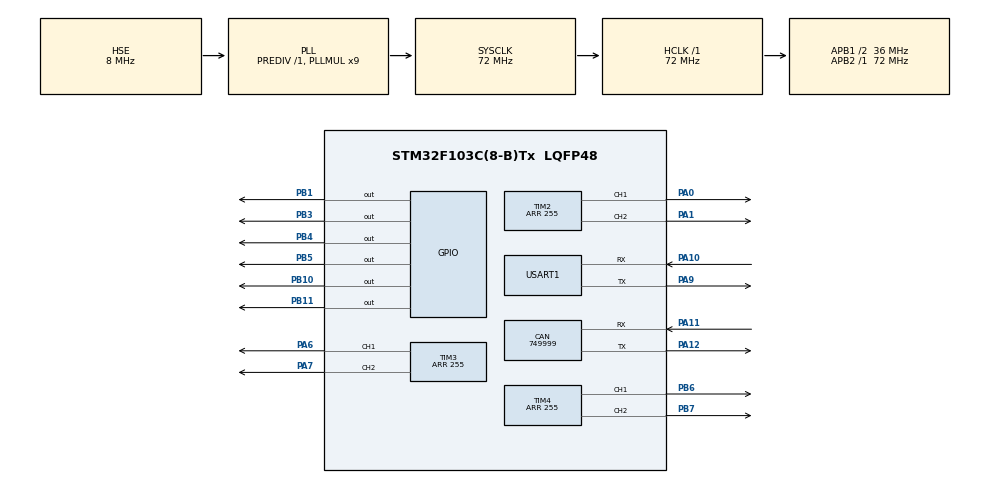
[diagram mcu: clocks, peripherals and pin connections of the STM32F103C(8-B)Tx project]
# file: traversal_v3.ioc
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CAN.CalculateBaudRate=749999
CAN.CalculateTimeBit=1333
CAN.CalculateTimeQuantum=444.44444444444446
Dma.Request0=USART1_RX
Dma.USART1_RX.0.Direction=DMA_PERIPH_TO_MEMORY
Dma.USART1_RX.0.Instance=DMA1_Channel5
Dma.USART1_RX.0.MemDataAlignment=DMA_MDATAALIGN_BYTE
Dma.USART1_RX.0.MemInc=DMA_MINC_ENABLE
Dma.USART1_RX.0.Mode=DMA_CIRCULAR
Dma.USART1_RX.0.PeriphDataAlignment=DMA_PDATAALIGN_BYTE
Dma.USART1_RX.0.PeriphInc=DMA_PINC_DISABLE
Dma.USART1_RX.0.Priority=DMA_PRIORITY_LOW
Mcu.Family=STM32F1
Mcu.Name=STM32F103C(8-B)Tx
Mcu.Package=LQFP48
NVIC.DMA1_Channel5_IRQn=true\:0\:0\:false\:false\:true\:false\:true\:true
NVIC.PriorityGroup=NVIC_PRIORITYGROUP_4
PA0-WKUP.Signal=S_TIM2_CH1_ETR
PA1.Signal=S_TIM2_CH2
PA10.Mode=Asynchronous
PA10.Signal=USART1_RX
PA11.Mode=CAN_Activate
PA11.Signal=CAN_RX
PA12.Mode=CAN_Activate
PA12.Signal=CAN_TX
PA13.Mode=Serial_Wire
PA13.Signal=SYS_JTMS-SWDIO
PA14.Mode=Serial_Wire
PA14.Signal=SYS_JTCK-SWCLK
PA6.Signal=S_TIM3_CH1
PA7.Signal=S_TIM3_CH2
PA9.Mode=Asynchronous
PA9.Signal=USART1_TX
PB1.Signal=GPIO_Output
PB10.Signal=GPIO_Output
PB11.Signal=GPIO_Output
PB3.Signal=GPIO_Output
PB4.Signal=GPIO_Output
PB5.Signal=GPIO_Output
PB6.Signal=S_TIM4_CH1
PB7.Signal=S_TIM4_CH2
PD0-OSC_IN.Mode=HSE-External-Oscillator
PD0-OSC_IN.Signal=RCC_OSC_IN
PD1-OSC_OUT.Mode=HSE-External-Oscillator
PD1-OSC_OUT.Signal=RCC_OSC_OUT
ProjectManager.HeapSize=0x200
ProjectManager.StackSize=0x400
ProjectManager.TargetToolchain=STM32CubeIDE
RCC.AHBFreq_Value=72000000
RCC.APB1CLKDivider=RCC_HCLK_DIV2
RCC.APB1Freq_Value=36000000
RCC.APB1TimFreq_Value=72000000
RCC.APB2Freq_Value=72000000
RCC.APB2TimFreq_Value=72000000
RCC.HCLKFreq_Value=72000000
RCC.PLLMUL=RCC_PLL_MUL9
RCC.PLLSourceVirtual=RCC_PLLSOURCE_HSE
RCC.SYSCLKFreq_VALUE=72000000
RCC.SYSCLKSource=RCC_SYSCLKSOURCE_PLLCLK
RCC.USBFreq_Value=72000000
SH.S_TIM2_CH1_ETR.0=TIM2_CH1,PWM Generation1 CH1
SH.S_TIM2_CH2.0=TIM2_CH2,PWM Generation2 CH2
SH.S_TIM3_CH1.0=TIM3_CH1,PWM Generation1 CH1
SH.S_TIM3_CH2.0=TIM3_CH2,PWM Generation2 CH2
SH.S_TIM4_CH1.0=TIM4_CH1,PWM Generation1 CH1
SH.S_TIM4_CH2.0=TIM4_CH2,PWM Generation2 CH2
TIM2.Channel-PWM\ Generation1\ CH1=TIM_CHANNEL_1
TIM2.Channel-PWM\ Generation2\ CH2=TIM_CHANNEL_2
TIM2.Period=255
TIM3.Channel-PWM\ Generation1\ CH1=TIM_CHANNEL_1
TIM3.Channel-PWM\ Generation2\ CH2=TIM_CHANNEL_2
TIM3.Period=255
TIM4.Channel-PWM\ Generation1\ CH1=TIM_CHANNEL_1
TIM4.Channel-PWM\ Generation2\ CH2=TIM_CHANNEL_2
TIM4.Period=255
USART1.VirtualMode=VM_ASYNC
VP_TIM2_VS_ClockSourceINT.Mode=Internal
VP_TIM3_VS_ClockSourceINT.Mode=Internal
VP_TIM4_VS_ClockSourceINT.Mode=Internal
board=custom

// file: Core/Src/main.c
/* USER CODE BEGIN Header */
/**
  ******************************************************************************
  * @file           : main.c
  * @brief          : Main program body
  ******************************************************************************
  * @attention
  *
  * Copyright (c) 2025 STMicroelectronics.
  * All rights reserved.
  *
  * This software is licensed under terms that can be found in the LICENSE file
  * in the root directory of this software component.
  * If no LICENSE file comes with this software, it is provided AS-IS.
  *
  ******************************************************************************
  */
/* USER CODE END Header */
#include "main.h"

/* USER CODE BEGIN PD */
#define ENCODER_GEAR 9.0f
#define WHEEL_GEAR   108.0f
/* USER CODE END PD */

CAN_HandleTypeDef hcan;

TIM_HandleTypeDef htim2;
TIM_HandleTypeDef htim3;
TIM_HandleTypeDef htim4;

UART_HandleTypeDef huart1;
DMA_HandleTypeDef hdma_usart1_rx;

/* USER CODE BEGIN PV */
volatile uint8_t UART1_rxBuffer[4] = {0};

/* USER CODE END PV */

void SystemClock_Config(void);
static void MX_GPIO_Init(void);
static void MX_DMA_Init(void);
static void MX_TIM2_Init(void);
static void MX_TIM3_Init(void);
static void MX_TIM4_Init(void);
static void MX_USART1_UART_Init(void);
static void MX_CAN_Init(void);

/* USER CODE BEGIN 0 */
//void HAL_UART_RxCpltCallback(UART_HandleTypeDef *huart) {
//	if (huart->Instance == USART1) {
//	    HAL_UART_Transmit(&huart1, UART1_rxBuffer, 2, HAL_MAX_DELAY);
//
//	}
//}

void setMotor(uint8_t joystick[2]) {
    int x = (int)joystick[0] - 127;
    int y = (int)joystick[1] - 127;

    int speed;

    if (abs(y) > abs(x)) {
        // forward / backward
        speed = 2 * abs(y);

        if (y > 0) {
            // FORWARD
            HAL_GPIO_WritePin(GPIOB, GPIO_PIN_3, GPIO_PIN_RESET);
            HAL_GPIO_WritePin(GPIOB, GPIO_PIN_4, GPIO_PIN_RESET);
            HAL_GPIO_WritePin(GPIOB, GPIO_PIN_5, GPIO_PIN_RESET);

            HAL_GPIO_WritePin(GPIOB, GPIO_PIN_1, GPIO_PIN_RESET);
            HAL_GPIO_WritePin(GPIOB, GPIO_PIN_10, GPIO_PIN_RESET);
            HAL_GPIO_WritePin(GPIOB, GPIO_PIN_11, GPIO_PIN_RESET);
        } else {
            // BACKWARD
            HAL_GPIO_WritePin(GPIOB, GPIO_PIN_3, GPIO_PIN_SET);
            HAL_GPIO_WritePin(GPIOB, GPIO_PIN_4, GPIO_PIN_SET);
            HAL_GPIO_WritePin(GPIOB, GPIO_PIN_5, GPIO_PIN_SET);

            HAL_GPIO_WritePin(GPIOB, GPIO_PIN_1, GPIO_PIN_SET);
            HAL_GPIO_WritePin(GPIOB, GPIO_PIN_10, GPIO_PIN_SET);
            HAL_GPIO_WritePin(GPIOB, GPIO_PIN_11, GPIO_PIN_SET);
        }

    } else if (abs(x) > abs(y)) {
        // rotation
        speed = 2 * abs(x);

        if (x > 0) {
            // rotate right
            HAL_GPIO_WritePin(GPIOB, GPIO_PIN_3, GPIO_PIN_RESET);
            HAL_GPIO_WritePin(GPIOB, GPIO_PIN_4, GPIO_PIN_RESET);
            HAL_GPIO_WritePin(GPIOB, GPIO_PIN_5, GPIO_PIN_RESET);

            HAL_GPIO_WritePin(GPIOB, GPIO_PIN_1, GPIO_PIN_SET);
            HAL_GPIO_WritePin(GPIOB, GPIO_PIN_10, GPIO_PIN_SET);
            HAL_GPIO_WritePin(GPIOB, GPIO_PIN_11, GPIO_PIN_SET);
        } else {
            // rotate left
            HAL_GPIO_WritePin(GPIOB, GPIO_PIN_3, GPIO_PIN_SET);
            HAL_GPIO_WritePin(GPIOB, GPIO_PIN_4, GPIO_PIN_SET);
            HAL_GPIO_WritePin(GPIOB, GPIO_PIN_5, GPIO_PIN_SET);

            HAL_GPIO_WritePin(GPIOB, GPIO_PIN_1, GPIO_PIN_RESET);
            HAL_GPIO_WritePin(GPIOB, GPIO_PIN_10, GPIO_PIN_RESET);
            HAL_GPIO_WritePin(GPIOB, GPIO_PIN_11, GPIO_PIN_RESET);
        }

    } else {
        speed = 0;
    }

    // Left motors (CCR1)
    TIM2->CCR1 = speed;
    TIM3->CCR1 = speed;
    TIM4->CCR1 = speed;

    // Right motors (CCR2)
    TIM2->CCR2 = speed;
    TIM3->CCR2 = speed;
    TIM4->CCR2 = speed;
}

void setMotor_direct(volatile uint8_t cmd[4])
{
    int left_pwm  = cmd[0];  // 0–255
    int left_dir  = cmd[1];  // 0 = forward, 1 = backward
    int right_pwm = cmd[2];  // 0–255
    int right_dir = cmd[3];  // 0 = forward, 1 = backward

    if (left_pwm > 255)  left_pwm = 255;
    if (right_pwm > 255) right_pwm = 255;

    int left_speed  = 2 * left_pwm;
    int right_speed = 2 * right_pwm;

    /* LEFT SIDE DIRECTION (same as setMotor) */
    if (left_dir == 1) {
        HAL_GPIO_WritePin(GPIOB, GPIO_PIN_3, GPIO_PIN_RESET);
        HAL_GPIO_WritePin(GPIOB, GPIO_PIN_4, GPIO_PIN_RESET);
        HAL_GPIO_WritePin(GPIOB, GPIO_PIN_5, GPIO_PIN_RESET);
    } else {
        HAL_GPIO_WritePin(GPIOB, GPIO_PIN_3, GPIO_PIN_SET);
        HAL_GPIO_WritePin(GPIOB, GPIO_PIN_4, GPIO_PIN_SET);
        HAL_GPIO_WritePin(GPIOB, GPIO_PIN_5, GPIO_PIN_SET);
    }

    /* RIGHT SIDE DIRECTION (same as setMotor) */
    if (right_dir == 1) {
        HAL_GPIO_WritePin(GPIOB, GPIO_PIN_1, GPIO_PIN_RESET);
        HAL_GPIO_WritePin(GPIOB, GPIO_PIN_10, GPIO_PIN_RESET);
        HAL_GPIO_WritePin(GPIOB, GPIO_PIN_11, GPIO_PIN_RESET);
    } else {
        HAL_GPIO_WritePin(GPIOB, GPIO_PIN_1, GPIO_PIN_SET);
        HAL_GPIO_WritePin(GPIOB, GPIO_PIN_10, GPIO_PIN_SET);
        HAL_GPIO_WritePin(GPIOB, GPIO_PIN_11, GPIO_PIN_SET);
    }

    /* LEFT MOTORS (CCR1) */
    TIM2->CCR1 = left_speed;
    TIM3->CCR1 = left_speed;
    TIM4->CCR1 = left_speed;

    /* RIGHT MOTORS (CCR2) */
    TIM2->CCR2 = right_speed;
    TIM3->CCR2 = right_speed;
    TIM4->CCR2 = right_speed;
}

/* USER CODE END 0 */

int main(void)
{

  /* MCU Configuration--------------------------------------------------------*/

  /* Reset of all peripherals, Initializes the Flash interface and the Systick. */
  HAL_Init();

  /* Configure the system clock */
  SystemClock_Config();

  /* Initialize all configured peripherals */
  MX_GPIO_Init();
  MX_DMA_Init();
  MX_TIM2_Init();
  MX_TIM3_Init();
  MX_TIM4_Init();
  MX_USART1_UART_Init();
  MX_CAN_Init();
  /* USER CODE BEGIN 2 */
  HAL_UART_Receive_DMA(&huart1, UART1_rxBuffer, 4);
  HAL_TIM_PWM_Start(&htim2, TIM_CHANNEL_1);
  HAL_TIM_PWM_Start(&htim2, TIM_CHANNEL_2);
  HAL_TIM_PWM_Start(&htim2, TIM_CHANNEL_3);

  HAL_TIM_PWM_Start(&htim3, TIM_CHANNEL_1);
  HAL_TIM_PWM_Start(&htim3, TIM_CHANNEL_2);
  HAL_TIM_PWM_Start(&htim3, TIM_CHANNEL_3);

  HAL_TIM_PWM_Start(&htim4, TIM_CHANNEL_1);
  HAL_TIM_PWM_Start(&htim4, TIM_CHANNEL_2);
  HAL_TIM_PWM_Start(&htim4, TIM_CHANNEL_3);

  /* Left motors (CCR1) */
  TIM2->CCR1 = 0;
  TIM3->CCR1 = 0;
  TIM4->CCR1 = 0;

  /* Right motors (CCR2) */
  TIM2->CCR2 = 0;
  TIM3->CCR2 = 0;
  TIM4->CCR2 = 0;

  /* USER CODE END 2 */

  /* Infinite loop */
  while (1)
  {

    /* USER CODE BEGIN 3 */
//	  setMotor(UART1_rxBuffer);
	  setMotor_direct(UART1_rxBuffer);
	  //note: 72MHz clk -> 1 tick = 13.88 ns, 1us = 72 ticks. tick_stack[0] = current tick, tick_stack[1] = previous tick

  }
  /* USER CODE END 3 */
}

void SystemClock_Config(void)
{
  RCC_OscInitTypeDef RCC_OscInitStruct = {0};
  RCC_ClkInitTypeDef RCC_ClkInitStruct = {0};

  /** Initializes the RCC Oscillators according to the specified parameters
  * in the RCC_OscInitTypeDef structure.
  */
  RCC_OscInitStruct.OscillatorType = RCC_OSCILLATORTYPE_HSE;
  RCC_OscInitStruct.HSEState = RCC_HSE_ON;
  RCC_OscInitStruct.HSEPredivValue = RCC_HSE_PREDIV_DIV1;
  RCC_OscInitStruct.HSIState = RCC_HSI_ON;
  RCC_OscInitStruct.PLL.PLLState = RCC_PLL_ON;
  RCC_OscInitStruct.PLL.PLLSource = RCC_PLLSOURCE_HSE;
  RCC_OscInitStruct.PLL.PLLMUL = RCC_PLL_MUL9;
  if (HAL_RCC_OscConfig(&RCC_OscInitStruct) != HAL_OK)
  {
    Error_Handler();
  }

  /** Initializes the CPU, AHB and APB buses clocks
  */
  RCC_ClkInitStruct.ClockType = RCC_CLOCKTYPE_HCLK|RCC_CLOCKTYPE_SYSCLK
                              |RCC_CLOCKTYPE_PCLK1|RCC_CLOCKTYPE_PCLK2;
  RCC_ClkInitStruct.SYSCLKSource = RCC_SYSCLKSOURCE_PLLCLK;
  RCC_ClkInitStruct.AHBCLKDivider = RCC_SYSCLK_DIV1;
  RCC_ClkInitStruct.APB1CLKDivider = RCC_HCLK_DIV2;
  RCC_ClkInitStruct.APB2CLKDivider = RCC_HCLK_DIV1;

  if (HAL_RCC_ClockConfig(&RCC_ClkInitStruct, FLASH_LATENCY_2) != HAL_OK)
  {
    Error_Handler();
  }
}

static void MX_CAN_Init(void)
{

  hcan.Instance = CAN1;
  hcan.Init.Prescaler = 16;
  hcan.Init.Mode = CAN_MODE_NORMAL;
  hcan.Init.SyncJumpWidth = CAN_SJW_1TQ;
  hcan.Init.TimeSeg1 = CAN_BS1_1TQ;
  hcan.Init.TimeSeg2 = CAN_BS2_1TQ;
  hcan.Init.TimeTriggeredMode = DISABLE;
  hcan.Init.AutoBusOff = DISABLE;
  hcan.Init.AutoWakeUp = DISABLE;
  hcan.Init.AutoRetransmission = DISABLE;
  hcan.Init.ReceiveFifoLocked = DISABLE;
  hcan.Init.TransmitFifoPriority = DISABLE;
  if (HAL_CAN_Init(&hcan) != HAL_OK)
  {
    Error_Handler();
  }

}

static void MX_TIM2_Init(void)
{

  TIM_ClockConfigTypeDef sClockSourceConfig = {0};
  TIM_MasterConfigTypeDef sMasterConfig = {0};
  TIM_OC_InitTypeDef sConfigOC = {0};

  htim2.Instance = TIM2;
  htim2.Init.Prescaler = 0;
  htim2.Init.CounterMode = TIM_COUNTERMODE_UP;
  htim2.Init.Period = 255;
  htim2.Init.ClockDivision = TIM_CLOCKDIVISION_DIV1;
  htim2.Init.AutoReloadPreload = TIM_AUTORELOAD_PRELOAD_DISABLE;
  if (HAL_TIM_Base_Init(&htim2) != HAL_OK)
  {
    Error_Handler();
  }
  sClockSourceConfig.ClockSource = TIM_CLOCKSOURCE_INTERNAL;
  if (HAL_TIM_ConfigClockSource(&htim2, &sClockSourceConfig) != HAL_OK)
  {
    Error_Handler();
  }
  if (HAL_TIM_PWM_Init(&htim2) != HAL_OK)
  {
    Error_Handler();
  }
  sMasterConfig.MasterOutputTrigger = TIM_TRGO_RESET;
  sMasterConfig.MasterSlaveMode = TIM_MASTERSLAVEMODE_DISABLE;
  if (HAL_TIMEx_MasterConfigSynchronization(&htim2, &sMasterConfig) != HAL_OK)
  {
    Error_Handler();
  }
  sConfigOC.OCMode = TIM_OCMODE_PWM1;
  sConfigOC.Pulse = 0;
  sConfigOC.OCPolarity = TIM_OCPOLARITY_HIGH;
  sConfigOC.OCFastMode = TIM_OCFAST_DISABLE;
  if (HAL_TIM_PWM_ConfigChannel(&htim2, &sConfigOC, TIM_CHANNEL_1) != HAL_OK)
  {
    Error_Handler();
  }
  if (HAL_TIM_PWM_ConfigChannel(&htim2, &sConfigOC, TIM_CHANNEL_2) != HAL_OK)
  {
    Error_Handler();
  }
  HAL_TIM_MspPostInit(&htim2);

}

static void MX_TIM3_Init(void)
{

  TIM_ClockConfigTypeDef sClockSourceConfig = {0};
  TIM_MasterConfigTypeDef sMasterConfig = {0};
  TIM_OC_InitTypeDef sConfigOC = {0};

  htim3.Instance = TIM3;
  htim3.Init.Prescaler = 0;
  htim3.Init.CounterMode = TIM_COUNTERMODE_UP;
  htim3.Init.Period = 255;
  htim3.Init.ClockDivision = TIM_CLOCKDIVISION_DIV1;
  htim3.Init.AutoReloadPreload = TIM_AUTORELOAD_PRELOAD_DISABLE;
  if (HAL_TIM_Base_Init(&htim3) != HAL_OK)
  {
    Error_Handler();
  }
  sClockSourceConfig.ClockSource = TIM_CLOCKSOURCE_INTERNAL;
  if (HAL_TIM_ConfigClockSource(&htim3, &sClockSourceConfig) != HAL_OK)
  {
    Error_Handler();
  }
  if (HAL_TIM_PWM_Init(&htim3) != HAL_OK)
  {
    Error_Handler();
  }
  sMasterConfig.MasterOutputTrigger = TIM_TRGO_RESET;
  sMasterConfig.MasterSlaveMode = TIM_MASTERSLAVEMODE_DISABLE;
  if (HAL_TIMEx_MasterConfigSynchronization(&htim3, &sMasterConfig) != HAL_OK)
  {
    Error_Handler();
  }
  sConfigOC.OCMode = TIM_OCMODE_PWM1;
  sConfigOC.Pulse = 0;
  sConfigOC.OCPolarity = TIM_OCPOLARITY_HIGH;
  sConfigOC.OCFastMode = TIM_OCFAST_DISABLE;
  if (HAL_TIM_PWM_ConfigChannel(&htim3, &sConfigOC, TIM_CHANNEL_1) != HAL_OK)
  {
    Error_Handler();
  }
  if (HAL_TIM_PWM_ConfigChannel(&htim3, &sConfigOC, TIM_CHANNEL_2) != HAL_OK)
  {
    Error_Handler();
  }
  HAL_TIM_MspPostInit(&htim3);

}

static void MX_TIM4_Init(void)
{

  TIM_ClockConfigTypeDef sClockSourceConfig = {0};
  TIM_MasterConfigTypeDef sMasterConfig = {0};
  TIM_OC_InitTypeDef sConfigOC = {0};

  htim4.Instance = TIM4;
  htim4.Init.Prescaler = 0;
  htim4.Init.CounterMode = TIM_COUNTERMODE_UP;
  htim4.Init.Period = 255;
  htim4.Init.ClockDivision = TIM_CLOCKDIVISION_DIV1;
  htim4.Init.AutoReloadPreload = TIM_AUTORELOAD_PRELOAD_DISABLE;
  if (HAL_TIM_Base_Init(&htim4) != HAL_OK)
  {
    Error_Handler();
  }
  sClockSourceConfig.ClockSource = TIM_CLOCKSOURCE_INTERNAL;
  if (HAL_TIM_ConfigClockSource(&htim4, &sClockSourceConfig) != HAL_OK)
  {
    Error_Handler();
  }
  if (HAL_TIM_PWM_Init(&htim4) != HAL_OK)
  {
    Error_Handler();
  }
  sMasterConfig.MasterOutputTrigger = TIM_TRGO_RESET;
  sMasterConfig.MasterSlaveMode = TIM_MASTERSLAVEMODE_DISABLE;
  if (HAL_TIMEx_MasterConfigSynchronization(&htim4, &sMasterConfig) != HAL_OK)
  {
    Error_Handler();
  }
  sConfigOC.OCMode = TIM_OCMODE_PWM1;
  sConfigOC.Pulse = 0;
  sConfigOC.OCPolarity = TIM_OCPOLARITY_HIGH;
  sConfigOC.OCFastMode = TIM_OCFAST_DISABLE;
  if (HAL_TIM_PWM_ConfigChannel(&htim4, &sConfigOC, TIM_CHANNEL_1) != HAL_OK)
  {
    Error_Handler();
  }
  if (HAL_TIM_PWM_ConfigChannel(&htim4, &sConfigOC, TIM_CHANNEL_2) != HAL_OK)
  {
    Error_Handler();
  }
  HAL_TIM_MspPostInit(&htim4);

}

static void MX_USART1_UART_Init(void)
{

  huart1.Instance = USART1;
  huart1.Init.BaudRate = 115200;
  huart1.Init.WordLength = UART_WORDLENGTH_8B;
  huart1.Init.StopBits = UART_STOPBITS_1;
  huart1.Init.Parity = UART_PARITY_NONE;
  huart1.Init.Mode = UART_MODE_TX_RX;
  huart1.Init.HwFlowCtl = UART_HWCONTROL_NONE;
  huart1.Init.OverSampling = UART_OVERSAMPLING_16;
  if (HAL_UART_Init(&huart1) != HAL_OK)
  {
    Error_Handler();
  }

}

static void MX_DMA_Init(void)
{

  /* DMA controller clock enable */
  __HAL_RCC_DMA1_CLK_ENABLE();

  /* DMA interrupt init */
  /* DMA1_Channel5_IRQn interrupt configuration */
  HAL_NVIC_SetPriority(DMA1_Channel5_IRQn, 0, 0);
  HAL_NVIC_EnableIRQ(DMA1_Channel5_IRQn);

}

static void MX_GPIO_Init(void)
{
  GPIO_InitTypeDef GPIO_InitStruct = {0};

  /* GPIO Ports Clock Enable */
  __HAL_RCC_GPIOD_CLK_ENABLE();
  __HAL_RCC_GPIOA_CLK_ENABLE();
  __HAL_RCC_GPIOB_CLK_ENABLE();

  /*Configure GPIO pin Output Level */
  HAL_GPIO_WritePin(GPIOB, GPIO_PIN_1|GPIO_PIN_10|GPIO_PIN_11|GPIO_PIN_3
                          |GPIO_PIN_4|GPIO_PIN_5, GPIO_PIN_RESET);

  /*Configure GPIO pins : PB1 PB10 PB11 PB3
                           PB4 PB5 */
  GPIO_InitStruct.Pin = GPIO_PIN_1|GPIO_PIN_10|GPIO_PIN_11|GPIO_PIN_3
                          |GPIO_PIN_4|GPIO_PIN_5;
  GPIO_InitStruct.Mode = GPIO_MODE_OUTPUT_PP;
  GPIO_InitStruct.Pull = GPIO_NOPULL;
  GPIO_InitStruct.Speed = GPIO_SPEED_FREQ_LOW;
  HAL_GPIO_Init(GPIOB, &GPIO_InitStruct);

}

void Error_Handler(void)
{
  __disable_irq();
  while (1)
  {
  }
}
